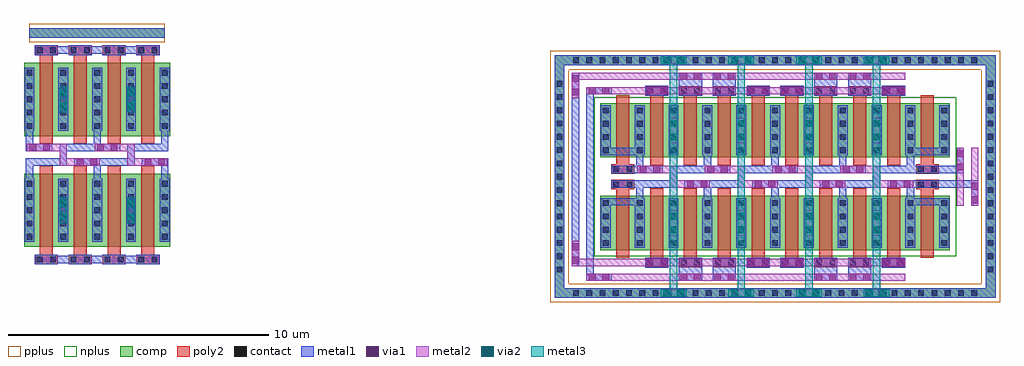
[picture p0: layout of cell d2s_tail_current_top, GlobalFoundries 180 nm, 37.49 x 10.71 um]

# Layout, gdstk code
from math import pi, radians
import gdstk
lib = gdstk.Library(unit=1e-6, precision=5e-09)
def R(c, l, rs):  # rectangles x0, y0, x1, y1
    for r in rs: c.add(gdstk.rectangle(r[:2], r[2:], *l))
def A(c, l, x, y, w, h, nx, ny, dx, dy):  # array of equal rectangles
    R(c, l, [(x+i*dx, y+j*dy, x+i*dx+w, y+j*dy+h) for i in range(nx) for j in range(ny)])
comp = (22, 0)
poly2 = (30, 0)
pplus = (31, 0)
nplus = (32, 0)
contact = (33, 0)
metal1 = (34, 0)
via1 = (35, 0)
metal2 = (36, 0)
via2 = (38, 0)
metal3 = (42, 0)

d2s_tail_current_ncell_1 = lib.new_cell('d2s_tail_current_ncell_1$1')
R(d2s_tail_current_ncell_1, comp, [(0,0.3,0.42,3.12), (0.42,0.3,1.3,3.12), (1.3,0.3,1.72,3.12)])
R(d2s_tail_current_ncell_1, poly2, [(0.61,0,1.11,3.42)])
A(d2s_tail_current_ncell_1, contact, 0.1, 0.58, 0.22, 0.22, 1, 5, 0, 0.51)
A(d2s_tail_current_ncell_1, contact, 1.4, 0.58, 0.22, 0.22, 1, 5, 0, 0.51)
R(d2s_tail_current_ncell_1, metal1, [(0.02,0.5,0.4,2.92), (1.32,0.5,1.7,2.92)])

d2s_tail_current_ncell_4 = lib.new_cell('d2s_tail_current_ncell_4')
A(d2s_tail_current_ncell_4, poly2, 0.425, 3.42, 0.87, 0.36, 4, 1, 1.3, 0)
R(d2s_tail_current_ncell_4, contact, [(0.495,3.49,0.715,3.71), (1.005,3.49,1.225,3.71), (1.795,3.49,2.015,3.71), (2.305,3.49,2.525,3.71), (3.095,3.49,3.315,3.71), (3.605,3.49,3.825,3.71), (4.395,3.49,4.615,3.71), (4.905,3.49,5.125,3.71)])
A(d2s_tail_current_ncell_4, metal1, 0.415, 3.41, 0.89, 0.38, 4, 1, 1.3, 0)
d2s_tail_current_ncell_4.add(gdstk.Reference(d2s_tail_current_ncell_1, (0,0)))
d2s_tail_current_ncell_4.add(gdstk.Reference(d2s_tail_current_ncell_1, (1.3,0)))
d2s_tail_current_ncell_4.add(gdstk.Reference(d2s_tail_current_ncell_1, (2.6,0)))
d2s_tail_current_ncell_4.add(gdstk.Reference(d2s_tail_current_ncell_1, (3.9,0)))

delay_stage_ncell_1_1_1_ = lib.new_cell('delay_stage_ncell_1$1$1$1')
R(delay_stage_ncell_1_1_1_, comp, [(0,0.3,0.42,2.38), (0.42,0.3,1.3,2.38), (1.3,0.3,1.72,2.38)])
R(delay_stage_ncell_1_1_1_, poly2, [(0.61,0,1.11,2.68)])
A(delay_stage_ncell_1_1_1_, contact, 0.1, 0.465, 0.22, 0.22, 1, 4, 0, 0.51)
A(delay_stage_ncell_1_1_1_, contact, 1.4, 0.465, 0.22, 0.22, 1, 4, 0, 0.51)
R(delay_stage_ncell_1_1_1_, metal1, [(0.02,0.385,0.4,2.295), (1.32,0.385,1.7,2.295)])

delay_stage_ncell_1_2_1 = lib.new_cell('delay_stage_ncell_1_2$1')
R(delay_stage_ncell_1_2_1, poly2, [(0.425,3.01,1.295,3.37), (0.425,3.61,1.295,3.97)])
R(delay_stage_ncell_1_2_1, contact, [(0.495,3.08,0.715,3.3), (1.005,3.08,1.225,3.3), (0.495,3.68,0.715,3.9), (1.005,3.68,1.225,3.9)])
R(delay_stage_ncell_1_2_1, metal1, [(0.21,3.065,1.295,3.07), (0.21,3.91,1.295,3.915)])
delay_stage_ncell_1_2_1.add(gdstk.FlexPath([(0.4,2.525),(1.32,2.525)], 0.28, ends="flush", simple_path=True, layer=34, datatype=0))  # metal1
delay_stage_ncell_1_2_1.add(gdstk.FlexPath([(1.295,3.21),(0.21,3.21)], 0.28, ends="flush", simple_path=True, layer=34, datatype=0))  # metal1
delay_stage_ncell_1_2_1.add(gdstk.FlexPath([(0.4,4.455),(1.32,4.455)], 0.28, ends="flush", simple_path=True, layer=34, datatype=0))  # metal1
delay_stage_ncell_1_2_1.add(gdstk.FlexPath([(1.295,3.77),(0.21,3.77)], 0.28, ends="flush", simple_path=True, layer=34, datatype=0))  # metal1
delay_stage_ncell_1_2_1.add(gdstk.Reference(delay_stage_ncell_1_1_1_, (0,3.93)))
delay_stage_ncell_1_2_1.add(gdstk.Reference(delay_stage_ncell_1_1_1_, (0,3.05), x_reflection=True))

delay_stage_ncell_1_1_2_ = lib.new_cell('delay_stage_ncell_1$1$2$1')
R(delay_stage_ncell_1_1_2_, comp, [(0,0.3,0.42,2.38), (0.42,0.3,1.3,2.38), (1.3,0.3,1.72,2.38)])
R(delay_stage_ncell_1_1_2_, poly2, [(0.61,0,1.11,2.68)])
A(delay_stage_ncell_1_1_2_, contact, 0.1, 0.465, 0.22, 0.22, 1, 4, 0, 0.51)
A(delay_stage_ncell_1_1_2_, contact, 1.4, 0.465, 0.22, 0.22, 1, 4, 0, 0.51)
R(delay_stage_ncell_1_1_2_, metal1, [(0.02,0.385,0.4,2.295), (1.32,0.385,1.7,2.295)])

delay_stage_ncell_4_1_1 = lib.new_cell('delay_stage_ncell_4$1$1')
A(delay_stage_ncell_4_1_1, poly2, 0.425, 2.675, 0.87, 0.36, 4, 1, 1.3, 0)
R(delay_stage_ncell_4_1_1, contact, [(0.495,2.745,0.715,2.965), (1.005,2.745,1.225,2.965), (1.795,2.745,2.015,2.965), (2.305,2.745,2.525,2.965), (3.095,2.745,3.315,2.965), (3.605,2.745,3.825,2.965), (4.395,2.745,4.615,2.965), (4.905,2.745,5.125,2.965)])
A(delay_stage_ncell_4_1_1, metal1, 0.415, 2.665, 0.89, 0.38, 4, 1, 1.3, 0)
delay_stage_ncell_4_1_1.add(gdstk.Reference(delay_stage_ncell_1_1_2_, (0,-0.005)))
delay_stage_ncell_4_1_1.add(gdstk.Reference(delay_stage_ncell_1_1_2_, (1.3,-0.005)))
delay_stage_ncell_4_1_1.add(gdstk.Reference(delay_stage_ncell_1_1_2_, (2.6,-0.005)))
delay_stage_ncell_4_1_1.add(gdstk.Reference(delay_stage_ncell_1_1_2_, (3.9,-0.005)))

delay_stage_ncell_4_2_1 = lib.new_cell('delay_stage_ncell_4_2$1')
R(delay_stage_ncell_4_2_1, metal1, [(1.715,0,2.605,0.51), (3.015,0,3.905,0.51), (1.715,7.49,2.605,8), (3.015,7.49,3.905,8)])
R(delay_stage_ncell_4_2_1, via1, [(1.77,0.01,2.03,0.27), (2.29,0.01,2.55,0.27), (3.07,0.01,3.33,0.27), (3.59,0.01,3.85,0.27), (0.47,0.57,0.73,0.83), (0.99,0.57,1.25,0.83), (4.37,0.57,4.63,0.83), (4.89,0.57,5.15,0.83), (1.38,1.83,1.64,2.09), (3.98,1.83,4.24,2.09), (1.38,2.35,1.64,2.61), (3.98,2.35,4.24,2.61), (2.03,3.59,2.29,3.85), (2.55,3.59,2.81,3.85), (4.63,3.59,4.89,3.85), (5.15,3.59,5.41,3.85), (0.21,4.15,0.47,4.41), (0.73,4.15,0.99,4.41), (2.81,4.15,3.07,4.41), (3.33,4.15,3.59,4.41), (1.38,5.39,1.64,5.65), (3.98,5.39,4.24,5.65), (1.38,5.91,1.64,6.17), (3.98,5.91,4.24,6.17), (0.47,7.17,0.73,7.43), (0.99,7.17,1.25,7.43), (4.37,7.17,4.63,7.43), (4.89,7.17,5.15,7.43), (1.77,7.73,2.03,7.99), (2.29,7.73,2.55,7.99), (3.07,7.73,3.33,7.99), (3.59,7.73,3.85,7.99)])
R(delay_stage_ncell_4_2_1, via2, [(1.38,1.83,1.64,2.09), (3.98,1.83,4.24,2.09), (1.38,2.35,1.64,2.61), (3.98,2.35,4.24,2.61), (1.38,5.39,1.64,5.65), (3.98,5.39,4.24,5.65), (1.38,5.91,1.64,6.17), (3.98,5.91,4.24,6.17)])
delay_stage_ncell_4_2_1.add(gdstk.FlexPath([(2.81,4.825),(2.81,4.42)], 0.28, ends="flush", simple_path=True, layer=34, datatype=0))  # metal1
delay_stage_ncell_4_2_1.add(gdstk.FlexPath([(2.81,3.175),(2.81,3.58)], 0.28, ends="flush", simple_path=True, layer=34, datatype=0))  # metal1
delay_stage_ncell_4_2_1.add(gdstk.FlexPath([(0.21,3.175),(0.21,3.58)], 0.28, ends="flush", simple_path=True, layer=34, datatype=0))  # metal1
delay_stage_ncell_4_2_1.add(gdstk.FlexPath([(0.21,4.825),(0.21,4.42)], 0.28, ends="flush", simple_path=True, layer=34, datatype=0))  # metal1
delay_stage_ncell_4_2_1.add(gdstk.FlexPath([(2.91,4.28),(1.51,4.28),(1.51,3.72),(0.07,3.72)], 0.28, ends="flush", simple_path=True, layer=34, datatype=0))  # metal1
delay_stage_ncell_4_2_1.add(gdstk.FlexPath([(1.09,4.28),(0.07,4.28)], 0.28, ends="flush", simple_path=True, layer=34, datatype=0))  # metal1
delay_stage_ncell_4_2_1.add(gdstk.FlexPath([(5.41,3.175),(5.41,3.58)], 0.28, ends="flush", simple_path=True, layer=34, datatype=0))  # metal1
delay_stage_ncell_4_2_1.add(gdstk.FlexPath([(5.55,4.28),(4.11,4.28),(4.11,3.72),(2.71,3.72)], 0.28, ends="flush", simple_path=True, layer=34, datatype=0))  # metal1
delay_stage_ncell_4_2_1.add(gdstk.FlexPath([(3.69,4.28),(2.71,4.28)], 0.28, ends="flush", simple_path=True, layer=34, datatype=0))  # metal1
delay_stage_ncell_4_2_1.add(gdstk.FlexPath([(5.41,4.825),(5.41,4.42)], 0.28, ends="flush", simple_path=True, layer=34, datatype=0))  # metal1
delay_stage_ncell_4_2_1.add(gdstk.FlexPath([(2.81,3.175),(2.81,3.58)], 0.28, ends="flush", simple_path=True, layer=34, datatype=0))  # metal1
delay_stage_ncell_4_2_1.add(gdstk.FlexPath([(5.55,3.72),(4.53,3.72)], 0.28, ends="flush", simple_path=True, layer=34, datatype=0))  # metal1
delay_stage_ncell_4_2_1.add(gdstk.FlexPath([(2.81,4.825),(2.81,4.42)], 0.28, ends="flush", simple_path=True, layer=34, datatype=0))  # metal1
delay_stage_ncell_4_2_1.add(gdstk.FlexPath([(2.91,3.72),(1.93,3.72)], 0.28, ends="flush", simple_path=True, layer=34, datatype=0))  # metal1
delay_stage_ncell_4_2_1.add(gdstk.FlexPath([(5.41,7.3),(0.405,7.3)], 0.28, ends="flush", simple_path=True, layer=36, datatype=0))  # metal2
delay_stage_ncell_4_2_1.add(gdstk.FlexPath([(5.41,7.86),(0.405,7.86)], 0.28, ends="flush", simple_path=True, layer=36, datatype=0))  # metal2
delay_stage_ncell_4_2_1.add(gdstk.FlexPath([(5.41,0.7),(0.405,0.7)], 0.28, ends="flush", simple_path=True, layer=36, datatype=0))  # metal2
delay_stage_ncell_4_2_1.add(gdstk.FlexPath([(5.41,0.14),(0.405,0.14)], 0.28, ends="flush", simple_path=True, layer=36, datatype=0))  # metal2
delay_stage_ncell_4_2_1.add(gdstk.FlexPath([(4.11,5.29),(4.11,6.27)], 0.28, ends="flush", simple_path=True, layer=36, datatype=0))  # metal2
delay_stage_ncell_4_2_1.add(gdstk.FlexPath([(1.51,5.29),(1.51,6.27)], 0.28, ends="flush", simple_path=True, layer=36, datatype=0))  # metal2
delay_stage_ncell_4_2_1.add(gdstk.FlexPath([(4.11,1.73),(4.11,2.71)], 0.28, ends="flush", simple_path=True, layer=36, datatype=0))  # metal2
delay_stage_ncell_4_2_1.add(gdstk.FlexPath([(1.51,1.73),(1.51,2.71)], 0.28, ends="flush", simple_path=True, layer=36, datatype=0))  # metal2
delay_stage_ncell_4_2_1.add(gdstk.FlexPath([(2.91,3.72),(1.51,3.72),(1.51,4.28),(0.11,4.28)], 0.28, ends="flush", simple_path=True, layer=36, datatype=0))  # metal2
delay_stage_ncell_4_2_1.add(gdstk.FlexPath([(5.51,3.72),(4.11,3.72),(4.11,4.28),(2.71,4.28)], 0.28, ends="flush", simple_path=True, layer=36, datatype=0))  # metal2
delay_stage_ncell_4_2_1.add(gdstk.FlexPath([(4.11,5.29),(4.11,6.27)], 0.28, ends="flush", simple_path=True, layer=42, datatype=0))  # metal3
delay_stage_ncell_4_2_1.add(gdstk.FlexPath([(1.51,5.29),(1.51,6.27)], 0.28, ends="flush", simple_path=True, layer=42, datatype=0))  # metal3
delay_stage_ncell_4_2_1.add(gdstk.FlexPath([(4.11,1.73),(4.11,2.71)], 0.28, ends="flush", simple_path=True, layer=42, datatype=0))  # metal3
delay_stage_ncell_4_2_1.add(gdstk.FlexPath([(1.51,1.73),(1.51,2.71)], 0.28, ends="flush", simple_path=True, layer=42, datatype=0))  # metal3
delay_stage_ncell_4_2_1.add(gdstk.Reference(delay_stage_ncell_4_1_1, (0,4.445)))
delay_stage_ncell_4_2_1.add(gdstk.Reference(delay_stage_ncell_4_1_1, (0,3.555), x_reflection=True))

d2s_tail_current_top = lib.new_cell('d2s_tail_current_top')
R(d2s_tail_current_top, nplus, [(23.94,-2.09,37.84,4.03)])
A(d2s_tail_current_top, contact, 23.13, -3.61, 0.22, 0.22, 31, 2, 0.51, 8.94)
A(d2s_tail_current_top, contact, 22.5, -2.71, 0.22, 0.22, 1, 15, 0, 0.51)
A(d2s_tail_current_top, contact, 39.06, -2.71, 0.22, 0.22, 1, 15, 0, 0.51)
R(d2s_tail_current_top, via1, [(26.6,-3.63,26.86,-3.37), (27.12,-3.63,27.38,-3.37), (29.2,-3.63,29.46,-3.37), (29.72,-3.63,29.98,-3.37), (31.8,-3.63,32.06,-3.37), (32.32,-3.63,32.58,-3.37), (34.4,-3.63,34.66,-3.37), (34.92,-3.63,35.18,-3.37), (23.74,-3.02,24,-2.76), (23.74,-3.02,24,-2.76), (24.26,-3.02,24.52,-2.76), (24.26,-3.02,24.52,-2.76), (23.09,-2.37,23.35,-2.11), (23.09,-2.37,23.35,-2.11), (23.09,-1.85,23.35,-1.59), (23.09,-1.85,23.35,-1.59), (3.42,-0.71,3.68,-0.45), (6.02,-0.71,6.28,-0.45), (3.42,-0.19,3.68,0.07), (6.02,-0.19,6.28,0.07), (38.43,-0.05,38.69,0.21), (38.43,-0.05,38.69,0.21), (38.43,0.47,38.69,0.73), (38.43,0.47,38.69,0.73), (37.87,1.21,38.13,1.47), (37.87,1.21,38.13,1.47), (4.07,1.4,4.33,1.66), (4.59,1.4,4.85,1.66), (6.67,1.4,6.93,1.66), (7.19,1.4,7.45,1.66), (37.87,1.73,38.13,1.99), (37.87,1.73,38.13,1.99), (2.25,1.96,2.51,2.22), (2.77,1.96,3.03,2.22), (4.85,1.96,5.11,2.22), (5.37,1.96,5.63,2.22), (3.42,3.55,3.68,3.81), (6.02,3.55,6.28,3.81), (3.42,4.07,3.68,4.33), (6.02,4.07,6.28,4.33), (23.09,4.09,23.35,4.35), (23.09,4.09,23.35,4.35), (23.74,4.14,24,4.4), (23.74,4.14,24,4.4), (24.26,4.14,24.52,4.4), (24.26,4.14,24.52,4.4), (23.09,4.61,23.35,4.87), (23.09,4.61,23.35,4.87), (26.6,5.31,26.86,5.57), (27.12,5.31,27.38,5.57), (29.2,5.31,29.46,5.57), (29.72,5.31,29.98,5.57), (31.8,5.31,32.06,5.57), (32.32,5.31,32.58,5.57), (34.4,5.31,34.66,5.57), (34.92,5.31,35.18,5.57)])
R(d2s_tail_current_top, via2, [(26.6,-3.63,26.86,-3.37), (27.12,-3.63,27.38,-3.37), (29.2,-3.63,29.46,-3.37), (29.72,-3.63,29.98,-3.37), (31.8,-3.63,32.06,-3.37), (32.32,-3.63,32.58,-3.37), (34.4,-3.63,34.66,-3.37), (34.92,-3.63,35.18,-3.37), (3.42,-0.71,3.68,-0.45), (6.02,-0.71,6.28,-0.45), (3.42,-0.19,3.68,0.07), (6.02,-0.19,6.28,0.07), (3.42,3.55,3.68,3.81), (6.02,3.55,6.28,3.81), (3.42,4.07,3.68,4.33), (6.02,4.07,6.28,4.33), (26.6,5.31,26.86,5.57), (27.12,5.31,27.38,5.57), (29.2,5.31,29.46,5.57), (29.72,5.31,29.98,5.57), (31.8,5.31,32.06,5.57), (32.32,5.31,32.58,5.57), (34.4,5.31,34.66,5.57), (34.92,5.31,35.18,5.57)])
d2s_tail_current_top.add(gdstk.FlexPath([(39.17,5.63),(39.17,-3.5),(22.61,-3.5),(22.61,5.44),(38.98,5.44)], 0.38, ends="flush", simple_path=True, layer=34, datatype=0))  # metal1
d2s_tail_current_top.add(gdstk.FlexPath([(36.23,0.69),(38.42,0.69)], 0.28, ends="flush", simple_path=True, layer=34, datatype=0))  # metal1
d2s_tail_current_top.add(gdstk.FlexPath([(36.23,1.25),(37.86,1.25)], 0.28, ends="flush", simple_path=True, layer=34, datatype=0))  # metal1
d2s_tail_current_top.add(gdstk.FlexPath([(38.56,-0.15),(38.56,0.83)], 0.28, ends="flush", simple_path=True, layer=34, datatype=0))  # metal1
d2s_tail_current_top.add(gdstk.FlexPath([(38.56,-0.15),(38.56,0.83)], 0.28, ends="flush", simple_path=True, layer=34, datatype=0))  # metal1
d2s_tail_current_top.add(gdstk.FlexPath([(38,1.11),(38,2.09)], 0.28, ends="flush", simple_path=True, layer=34, datatype=0))  # metal1
d2s_tail_current_top.add(gdstk.FlexPath([(38,1.11),(38,2.09)], 0.28, ends="flush", simple_path=True, layer=34, datatype=0))  # metal1
d2s_tail_current_top.add(gdstk.FlexPath([(23.22,-2.47),(23.22,4.97)], 0.28, ends="flush", simple_path=True, layer=34, datatype=0))  # metal1
d2s_tail_current_top.add(gdstk.FlexPath([(23.78,-2.75),(23.78,4.41)], 0.28, ends="flush", simple_path=True, layer=34, datatype=0))  # metal1
d2s_tail_current_top.add(gdstk.FlexPath([(23.22,3.99),(23.22,4.97)], 0.28, ends="flush", simple_path=True, layer=34, datatype=0))  # metal1
d2s_tail_current_top.add(gdstk.FlexPath([(23.64,4.27),(24.62,4.27)], 0.28, ends="flush", simple_path=True, layer=34, datatype=0))  # metal1
d2s_tail_current_top.add(gdstk.FlexPath([(23.64,-2.89),(24.62,-2.89)], 0.28, ends="flush", simple_path=True, layer=34, datatype=0))  # metal1
d2s_tail_current_top.add(gdstk.FlexPath([(23.22,-1.49),(23.22,-2.47)], 0.28, ends="flush", simple_path=True, layer=34, datatype=0))  # metal1
d2s_tail_current_top.add(gdstk.FlexPath([(2.25,6.49),(7.45,6.49)], 0.38, ends="flush", simple_path=True, layer=34, datatype=0))  # metal1
d2s_tail_current_top.add(gdstk.FlexPath([(4.85,2.73),(4.85,2.23)], 0.28, ends="flush", simple_path=True, layer=34, datatype=0))  # metal1
d2s_tail_current_top.add(gdstk.FlexPath([(4.85,0.89),(4.85,1.39)], 0.28, ends="flush", simple_path=True, layer=34, datatype=0))  # metal1
d2s_tail_current_top.add(gdstk.FlexPath([(2.25,0.89),(2.25,1.39)], 0.28, ends="flush", simple_path=True, layer=34, datatype=0))  # metal1
d2s_tail_current_top.add(gdstk.FlexPath([(2.25,2.73),(2.25,2.23)], 0.28, ends="flush", simple_path=True, layer=34, datatype=0))  # metal1
d2s_tail_current_top.add(gdstk.FlexPath([(4.95,2.09),(3.55,2.09),(3.55,1.53),(2.11,1.53)], 0.28, ends="flush", simple_path=True, layer=34, datatype=0))  # metal1
d2s_tail_current_top.add(gdstk.FlexPath([(3.13,2.09),(2.11,2.09)], 0.28, ends="flush", simple_path=True, layer=34, datatype=0))  # metal1
d2s_tail_current_top.add(gdstk.FlexPath([(7.45,0.89),(7.45,1.39)], 0.28, ends="flush", simple_path=True, layer=34, datatype=0))  # metal1
d2s_tail_current_top.add(gdstk.FlexPath([(7.59,2.09),(6.15,2.09),(6.15,1.53),(4.75,1.53)], 0.28, ends="flush", simple_path=True, layer=34, datatype=0))  # metal1
d2s_tail_current_top.add(gdstk.FlexPath([(5.73,2.09),(4.75,2.09)], 0.28, ends="flush", simple_path=True, layer=34, datatype=0))  # metal1
d2s_tail_current_top.add(gdstk.FlexPath([(7.45,2.73),(7.45,2.23)], 0.28, ends="flush", simple_path=True, layer=34, datatype=0))  # metal1
d2s_tail_current_top.add(gdstk.FlexPath([(4.85,0.89),(4.85,1.39)], 0.28, ends="flush", simple_path=True, layer=34, datatype=0))  # metal1
d2s_tail_current_top.add(gdstk.FlexPath([(7.59,1.53),(6.57,1.53)], 0.28, ends="flush", simple_path=True, layer=34, datatype=0))  # metal1
d2s_tail_current_top.add(gdstk.FlexPath([(4.85,2.73),(4.85,2.23)], 0.28, ends="flush", simple_path=True, layer=34, datatype=0))  # metal1
d2s_tail_current_top.add(gdstk.FlexPath([(4.95,1.53),(3.97,1.53)], 0.28, ends="flush", simple_path=True, layer=34, datatype=0))  # metal1
d2s_tail_current_top.add(gdstk.FlexPath([(3.345,5.83),(6.355,5.83)], 0.28, ends="flush", simple_path=True, layer=34, datatype=0))  # metal1
d2s_tail_current_top.add(gdstk.FlexPath([(3.345,-2.21),(6.355,-2.21)], 0.28, ends="flush", simple_path=True, layer=34, datatype=0))  # metal1
d2s_tail_current_top.add(gdstk.FlexPath([(39.17,5.63),(39.17,-3.5),(22.61,-3.5),(22.61,5.44),(38.98,5.44)], 0.38, ends="flush", simple_path=True, layer=22, datatype=0))  # comp
d2s_tail_current_top.add(gdstk.FlexPath([(2.25,6.49),(7.45,6.49)], 0.38, ends="flush", simple_path=True, layer=22, datatype=0))  # comp
d2s_tail_current_top.add(gdstk.FlexPath([(38,-0.15),(38,2.09)], 0.28, ends="flush", simple_path=True, layer=36, datatype=0))  # metal2
d2s_tail_current_top.add(gdstk.FlexPath([(38.56,-0.15),(38.56,2.09)], 0.28, ends="flush", simple_path=True, layer=36, datatype=0))  # metal2
d2s_tail_current_top.add(gdstk.FlexPath([(34.3,-3.5),(35.28,-3.5)], 0.28, ends="flush", simple_path=True, layer=36, datatype=0))  # metal2
d2s_tail_current_top.add(gdstk.FlexPath([(34.3,5.44),(35.28,5.44)], 0.28, ends="flush", simple_path=True, layer=36, datatype=0))  # metal2
d2s_tail_current_top.add(gdstk.FlexPath([(31.7,-3.5),(32.68,-3.5)], 0.28, ends="flush", simple_path=True, layer=36, datatype=0))  # metal2
d2s_tail_current_top.add(gdstk.FlexPath([(31.7,5.44),(32.68,5.44)], 0.28, ends="flush", simple_path=True, layer=36, datatype=0))  # metal2
d2s_tail_current_top.add(gdstk.FlexPath([(29.1,-3.5),(30.08,-3.5)], 0.28, ends="flush", simple_path=True, layer=36, datatype=0))  # metal2
d2s_tail_current_top.add(gdstk.FlexPath([(29.1,5.44),(30.08,5.44)], 0.28, ends="flush", simple_path=True, layer=36, datatype=0))  # metal2
d2s_tail_current_top.add(gdstk.FlexPath([(26.5,-3.5),(27.48,-3.5)], 0.28, ends="flush", simple_path=True, layer=36, datatype=0))  # metal2
d2s_tail_current_top.add(gdstk.FlexPath([(26.5,5.44),(27.48,5.44)], 0.28, ends="flush", simple_path=True, layer=36, datatype=0))  # metal2
d2s_tail_current_top.add(gdstk.FlexPath([(4.95,1.53),(3.55,1.53),(3.55,2.09),(2.15,2.09)], 0.28, ends="flush", simple_path=True, layer=36, datatype=0))  # metal2
d2s_tail_current_top.add(gdstk.FlexPath([(7.55,1.53),(6.15,1.53),(6.15,2.09),(4.75,2.09)], 0.28, ends="flush", simple_path=True, layer=36, datatype=0))  # metal2
d2s_tail_current_top.add(gdstk.FlexPath([(6.15,3.45),(6.15,4.43)], 0.28, ends="flush", simple_path=True, layer=36, datatype=0))  # metal2
d2s_tail_current_top.add(gdstk.FlexPath([(3.55,3.45),(3.55,4.43)], 0.28, ends="flush", simple_path=True, layer=36, datatype=0))  # metal2
d2s_tail_current_top.add(gdstk.FlexPath([(6.15,-0.81),(6.15,0.17)], 0.28, ends="flush", simple_path=True, layer=36, datatype=0))  # metal2
d2s_tail_current_top.add(gdstk.FlexPath([(3.55,-0.81),(3.55,0.17)], 0.28, ends="flush", simple_path=True, layer=36, datatype=0))  # metal2
d2s_tail_current_top.add(gdstk.FlexPath([(25.885,-2.33),(23.08,-2.33)], 0.28, ends="flush", simple_path=True, layer=36, datatype=0))  # metal2
d2s_tail_current_top.add(gdstk.FlexPath([(25.885,-2.89),(24.62,-2.89)], 0.28, ends="flush", simple_path=True, layer=36, datatype=0))  # metal2
d2s_tail_current_top.add(gdstk.FlexPath([(25.885,4.27),(23.92,4.27)], 0.28, ends="flush", simple_path=True, layer=36, datatype=0))  # metal2
d2s_tail_current_top.add(gdstk.FlexPath([(25.885,4.83),(23.36,4.83)], 0.28, ends="flush", simple_path=True, layer=36, datatype=0))  # metal2
d2s_tail_current_top.add(gdstk.FlexPath([(23.22,3.99),(23.22,4.97)], 0.28, ends="flush", simple_path=True, layer=36, datatype=0))  # metal2
d2s_tail_current_top.add(gdstk.FlexPath([(23.64,4.27),(24.62,4.27)], 0.28, ends="flush", simple_path=True, layer=36, datatype=0))  # metal2
d2s_tail_current_top.add(gdstk.FlexPath([(23.64,-2.89),(24.62,-2.89)], 0.28, ends="flush", simple_path=True, layer=36, datatype=0))  # metal2
d2s_tail_current_top.add(gdstk.FlexPath([(23.22,-1.49),(23.22,-2.47)], 0.28, ends="flush", simple_path=True, layer=36, datatype=0))  # metal2
d2s_tail_current_top.add(gdstk.FlexPath([(34.3,-3.5),(35.28,-3.5)], 0.28, ends="flush", simple_path=True, layer=42, datatype=0))  # metal3
d2s_tail_current_top.add(gdstk.FlexPath([(34.3,5.44),(35.28,5.44)], 0.28, ends="flush", simple_path=True, layer=42, datatype=0))  # metal3
d2s_tail_current_top.add(gdstk.FlexPath([(34.79,5.3),(34.79,-3.36)], 0.28, ends="flush", simple_path=True, layer=42, datatype=0))  # metal3
d2s_tail_current_top.add(gdstk.FlexPath([(31.7,-3.5),(32.68,-3.5)], 0.28, ends="flush", simple_path=True, layer=42, datatype=0))  # metal3
d2s_tail_current_top.add(gdstk.FlexPath([(6.15,3.45),(6.15,4.43)], 0.28, ends="flush", simple_path=True, layer=42, datatype=0))  # metal3
d2s_tail_current_top.add(gdstk.FlexPath([(3.55,3.45),(3.55,4.43)], 0.28, ends="flush", simple_path=True, layer=42, datatype=0))  # metal3
d2s_tail_current_top.add(gdstk.FlexPath([(6.15,-0.81),(6.15,0.17)], 0.28, ends="flush", simple_path=True, layer=42, datatype=0))  # metal3
d2s_tail_current_top.add(gdstk.FlexPath([(3.55,-0.81),(3.55,0.17)], 0.28, ends="flush", simple_path=True, layer=42, datatype=0))  # metal3
d2s_tail_current_top.add(gdstk.FlexPath([(31.7,5.44),(32.68,5.44)], 0.28, ends="flush", simple_path=True, layer=42, datatype=0))  # metal3
d2s_tail_current_top.add(gdstk.FlexPath([(32.19,5.3),(32.19,-3.36)], 0.28, ends="flush", simple_path=True, layer=42, datatype=0))  # metal3
d2s_tail_current_top.add(gdstk.FlexPath([(29.1,-3.5),(30.08,-3.5)], 0.28, ends="flush", simple_path=True, layer=42, datatype=0))  # metal3
d2s_tail_current_top.add(gdstk.FlexPath([(29.1,5.44),(30.08,5.44)], 0.28, ends="flush", simple_path=True, layer=42, datatype=0))  # metal3
d2s_tail_current_top.add(gdstk.FlexPath([(29.59,5.3),(29.59,-3.36)], 0.28, ends="flush", simple_path=True, layer=42, datatype=0))  # metal3
d2s_tail_current_top.add(gdstk.FlexPath([(26.5,-3.5),(27.48,-3.5)], 0.28, ends="flush", simple_path=True, layer=42, datatype=0))  # metal3
d2s_tail_current_top.add(gdstk.FlexPath([(26.5,5.44),(27.48,5.44)], 0.28, ends="flush", simple_path=True, layer=42, datatype=0))  # metal3
d2s_tail_current_top.add(gdstk.FlexPath([(26.99,5.3),(26.99,-3.36)], 0.28, ends="flush", simple_path=True, layer=42, datatype=0))  # metal3
d2s_tail_current_top.add(gdstk.FlexPath([(39.17,5.8),(39.17,-3.5),(22.61,-3.5),(22.61,5.44),(39.53,5.44)], 0.72, ends="flush", simple_path=True, layer=31, datatype=0))  # pplus
d2s_tail_current_top.add(gdstk.FlexPath([(2.25,6.49),(7.45,6.49)], 0.72, ends="flush", simple_path=True, layer=31, datatype=0))  # pplus
d2s_tail_current_top.add(gdstk.Reference(d2s_tail_current_ncell_4, (2.04,2.23)))
d2s_tail_current_top.add(gdstk.Reference(d2s_tail_current_ncell_4, (2.04,1.39), x_reflection=True))
d2s_tail_current_top.add(gdstk.Reference(delay_stage_ncell_1_2_1, (35.88,-2.52)))
d2s_tail_current_top.add(gdstk.Reference(delay_stage_ncell_1_2_1, (25.9,-2.52), rotation=pi, x_reflection=True))
d2s_tail_current_top.add(gdstk.Reference(delay_stage_ncell_4_2_1, (25.48,-3.03)))
d2s_tail_current_top.add(gdstk.Reference(delay_stage_ncell_4_2_1, (36.3,4.97), rotation=pi))

lib.write_gds('d2s_tail_current_top.gds')
